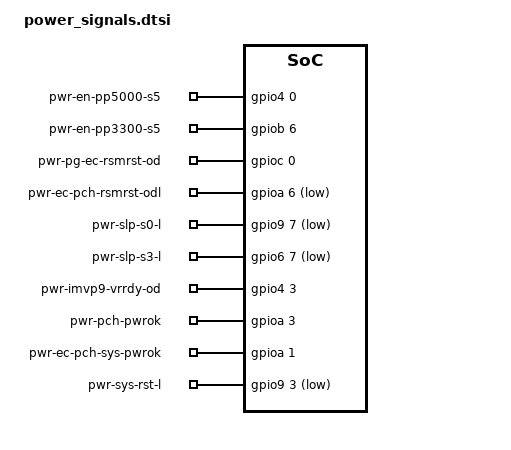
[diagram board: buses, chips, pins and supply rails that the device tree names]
/* Copyright 2024 The ChromiumOS Authors
 * Use of this source code is governed by a BSD-style license that can be
 * found in the LICENSE file.
 */

/ {
	chosen {
		intel-ap-pwrseq,espi = &espi0;
	};

	common-pwrseq {
		compatible = "intel,ap-pwrseq";

		sys-pwrok-delay = <10>;
		all-sys-pwrgd-timeout = <20>;
	};

	pwr-en-pp5000-s5 {
		compatible = "intel,ap-pwrseq-gpio";
		dbg-label = "PP5000_S5 enable output to regulator";
		enum-name = "PWR_EN_PP5000_A";
		gpios = <&gpio4 0 0>;
		output;
	};
	pwr-en-pp3300-s5 {
		compatible = "intel,ap-pwrseq-gpio";
		dbg-label = "PP3300_S5 enable output to LS";
		enum-name = "PWR_EN_PP3300_A";
		gpios = <&gpiob 6 0>;
		output;
	};
	pwr-pg-ec-rsmrst-od {
		compatible = "intel,ap-pwrseq-gpio";
		dbg-label = "RSMRST power good from regulator";
		enum-name = "PWR_RSMRST_PWRGD";
		gpios = <&gpioc 0 0>;
		interrupt-flags = <GPIO_INT_EDGE_BOTH>;
	};
	pwr-ec-pch-rsmrst-odl {
		compatible = "intel,ap-pwrseq-gpio";
		dbg-label = "RSMRST output to PCH";
		enum-name = "PWR_EC_PCH_RSMRST";
		gpios = <&gpioa 6 (GPIO_ACTIVE_LOW | GPIO_VOLTAGE_1P8)>;
		reset-val = <1>;
		output;
	};
	pwr-slp-s0-l {
		compatible = "intel,ap-pwrseq-gpio";
		dbg-label = "SLP_S0_L input from PCH";
		enum-name = "PWR_SLP_S0";
		gpios = <&gpio9 7 (GPIO_ACTIVE_LOW | GPIO_VOLTAGE_1P8)>;
		interrupt-flags = <GPIO_INT_EDGE_BOTH>;
	};
	pwr-slp-s3-l {
		compatible = "intel,ap-pwrseq-gpio";
		dbg-label = "SLP_S3_L input from PCH";
		enum-name = "PWR_SLP_S3";
		gpios = <&gpio6 7 GPIO_ACTIVE_LOW>;
		interrupt-flags = <GPIO_INT_EDGE_BOTH>;
	};
	pwr-imvp9-vrrdy-od {
		compatible = "intel,ap-pwrseq-gpio";
		dbg-label = "VRRDY input from IMVP9";
		enum-name = "PWR_IMVP9_VRRDY";
		gpios = <&gpio4 3 0>;
	};
	pwr-pch-pwrok {
		compatible = "intel,ap-pwrseq-gpio";
		dbg-label = "PCH_PWROK output to PCH";
		enum-name = "PWR_PCH_PWROK";
		gpios = <&gpioa 3 (0 | GPIO_VOLTAGE_1P8)>;
		output;
	};
	pwr-ec-pch-sys-pwrok {
		compatible = "intel,ap-pwrseq-gpio";
		dbg-label = "SYS_PWROK output to PCH";
		enum-name = "PWR_EC_PCH_SYS_PWROK";
		gpios = <&gpioa 1 (0 | GPIO_VOLTAGE_1P8)>;
		output;
	};
	pwr-sys-rst-l {
		compatible = "intel,ap-pwrseq-gpio";
		dbg-label = "SYS_RESET# output to PCH";
		enum-name = "PWR_SYS_RST";
		gpios = <&gpio9 3 (GPIO_ACTIVE_LOW | GPIO_OPEN_DRAIN | GPIO_VOLTAGE_1P8)>;
		output;
	};
	pwr-slp-s4 {
		compatible = "intel,ap-pwrseq-vw";
		dbg-label = "SLP_S4 virtual wire input from PCH";
		enum-name = "PWR_SLP_S4";
		virtual-wire = "ESPI_VWIRE_SIGNAL_SLP_S4";
		reset-val = <1>;
		vw-invert;
	};
	pwr-slp-s5 {
		compatible = "intel,ap-pwrseq-vw";
		dbg-label = "SLP_S5 virtual wire input from PCH";
		enum-name = "PWR_SLP_S5";
		virtual-wire = "ESPI_VWIRE_SIGNAL_SLP_S5";
		reset-val = <1>;
		vw-invert;
	};
	pwr-all-sys-pwrgd {
		compatible = "intel,ap-pwrseq-external";
		dbg-label = "Combined all power good";
		enum-name = "PWR_ALL_SYS_PWRGD";
	};
};

/*
 * Because the power signals directly reference the GPIOs,
 * the correspinding named-gpios need to have no-auto-init set.
 */
&gpio_ec_soc_pch_pwrok_od {
	no-auto-init;
};
&gpio_ec_soc_rsmrst_l {
	no-auto-init;
};
&gpio_ec_soc_sys_pwrok {
	no-auto-init;
};
&gpio_en_pp3300_s5 {
	no-auto-init;
};
&gpio_en_pp5000_s5 {
	no-auto-init;
};
&gpio_imvp91_vrrdy_od {
	no-auto-init;
};
&gpio_slp_s0_l {
	no-auto-init;
};
&gpio_slp_s3_l {
	no-auto-init;
};
&gpio_slp_s4_l {
	no-auto-init;
};
&gpio_sys_rst_odl {
	no-auto-init;
};
